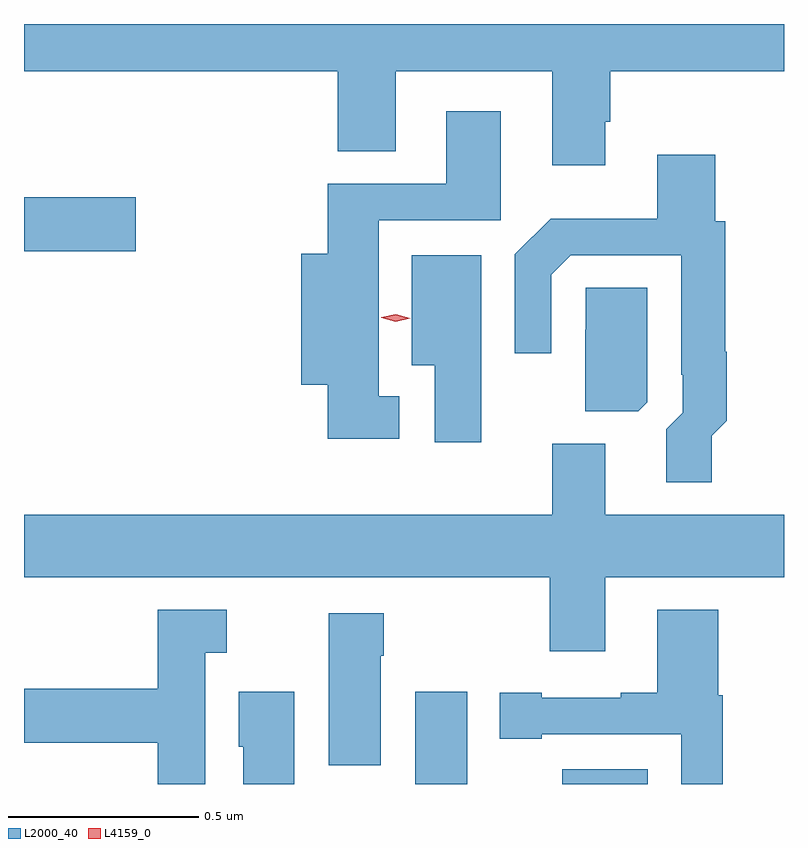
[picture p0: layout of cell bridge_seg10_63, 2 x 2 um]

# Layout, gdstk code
import gdstk
lib = gdstk.Library(unit=1e-6, precision=1e-09)
def R(c, l, rs):  # rectangles x0, y0, x1, y1
    for r in rs: c.add(gdstk.rectangle(r[:2], r[2:], *l))
def P(c, l, *ps):  # polygons
    for p in ps: c.add(gdstk.Polygon(p, *l))
L2000_40 = (2000, 40)
L4159_0 = (4159, 0)

bridge_seg10_63 = lib.new_cell('bridge_seg10_63')
R(bridge_seg10_63, L2000_40, [(821.813,1298.44,821.95,1298.683), (822.2,1298.44,822.424,1298.479), (820.783,1299.842,821.077,1299.984)])
P(bridge_seg10_63, L2000_40, [(822.313,1300.183),(822.326,1300.183),(822.326,1300.316),(822.783,1300.316),(822.783,1300.44),(820.783,1300.44),(820.783,1300.316),(821.609,1300.316),(821.609,1300.105),(821.761,1300.105),(821.761,1300.316),(822.173,1300.316),(822.173,1300.068),(822.313,1300.068)],
  [(821.77,1299.461),(821.716,1299.461),(821.716,1299.924),(822.037,1299.924),(822.037,1300.21),(821.894,1300.21),(821.894,1300.02),(821.582,1300.02),(821.582,1299.835),(821.513,1299.835),(821.513,1299.491),(821.582,1299.491),(821.582,1299.348),(821.77,1299.348)],
  [(822.593,1299.357),(822.632,1299.396),(822.632,1299.578),(822.629,1299.578),(822.629,1299.921),(822.602,1299.921),(822.602,1300.096),(822.449,1300.096),(822.449,1299.928),(822.169,1299.928),(822.075,1299.834),(822.075,1299.573),(822.171,1299.573),(822.171,1299.78),(822.222,1299.831),(822.513,1299.831),(822.513,1299.517),(822.516,1299.517),(822.516,1299.417),(822.473,1299.374),(822.473,1299.234),(822.593,1299.234)],
  [(821.986,1299.832),(821.804,1299.832),(821.804,1299.542),(821.864,1299.542),(821.864,1299.339),(821.986,1299.339)],
  [(822.423,1299.444),(822.423,1299.746),(822.261,1299.746),(822.261,1299.635),(822.26,1299.635),(822.26,1299.421),(822.399,1299.421)],
  [(822.313,1298.984),(822.783,1298.984),(822.783,1299.148),(822.313,1299.148),(822.313,1299.336),(822.173,1299.336),(822.173,1299.148),(820.783,1299.148),(820.783,1298.984),(822.166,1298.984),(822.166,1298.79),(822.313,1298.79)],
  [(821.26,1298.786),(821.317,1298.786),(821.317,1298.899),(821.135,1298.899),(821.135,1298.691),(820.783,1298.691),(820.783,1298.549),(821.135,1298.549),(821.135,1298.44),(821.26,1298.44)],
  [(822.622,1298.674),(822.61,1298.674),(822.61,1298.899),(822.449,1298.899),(822.449,1298.68),(822.353,1298.68),(822.353,1298.667),(822.145,1298.667),(822.145,1298.68),(822.035,1298.68),(822.035,1298.559),(822.145,1298.559),(822.145,1298.571),(822.513,1298.571),(822.513,1298.44),(822.622,1298.44)],
  [(821.722,1298.777),(821.73,1298.777),(821.73,1298.89),(821.585,1298.89),(821.585,1298.49),(821.722,1298.49)],
  [(821.494,1298.683),(821.348,1298.683),(821.348,1298.538),(821.36,1298.538),(821.36,1298.44),(821.494,1298.44)])
P(bridge_seg10_63, L4159_0, [(821.761,1299.657),(821.723,1299.667),(821.723,1299.667),(821.723,1299.668),(821.761,1299.676),(821.799,1299.666),(821.799,1299.666),(821.799,1299.666)])

lib.write_gds('bridge_seg10_63.gds')
